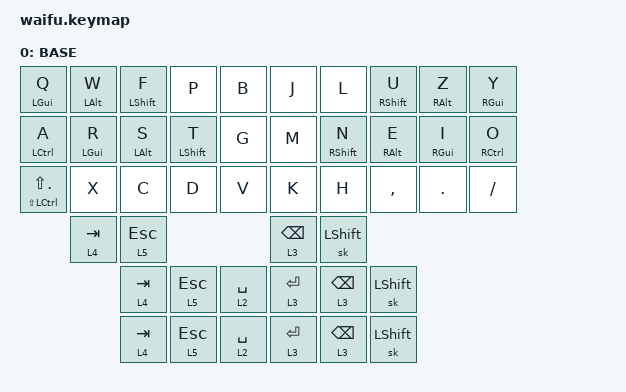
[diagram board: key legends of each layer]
//
// wiafu
//
// ▄▄▄▄▄▄▄▄▄▄▄▄▄▄▄▄▄▄▄▄▄▄▄▄▄▄▄▄▄▄▄▄▄▄▄▄▄▄▄▄▄▄▄▄▄▄▄▄▄▄▄▄▄▄▄▄▄▄▄▄▄▄▄▄▄▄▄▄▄▄▄▄▄▄▄▄▄▄▄▄▄▄▄▄▄▄▄▄▄▄▄▄▄▄▄▄▄▄▄▄▄▄▄▄▄▄▄▄▄▄▄▄▄▄▄▄▄▄▄▄▄▄▄▄▄▄▄▄▄▄▄▄▄▄▄▄▄▄▄▄▄▄▄▄▄▄▄▄▄

#include <behaviors.dtsi>
#include <dt-bindings/zmk/bt.h>
#include <dt-bindings/zmk/keys.h>
#include <dt-bindings/zmk/outputs.h>

// #define BASE 0
// #define SYM  1
// #define NAV  2
// #define ADJ  3
// #define TVP1 4
// #define TVP2 5

&mt {
    quick-tap-ms = <200>;
    global-quick-tap;
    flavor = "tap-preferred";
    tapping-term-ms = <150>;
};

&lt {
    quick-tap-ms = <200>;
    require-prior-idle-ms = <100>;
    flavor = "tap-preferred";
    tapping-term-ms = <180>;
};

&sk { quick-release; };

/ {
    // combos {
    //     compatible = "zmk,combos";
    //
    //     combo_esc {
    //         timeout-ms = <50>;
    //         key-positions = <0 1>;
    //         bindings = <&kp ESC>;
    //     };
    //
    //     combo_tvp {
    //         timeout-ms = <100>;
    //         key-positions = <11 12 13>;
    //         bindings = <&tog TVP1>;
    //     };
    // };
    // macros {
    //     gif: gif {
    //         label = "giphy";
    //         compatible = "zmk,behavior-macro";
    //         #binding-cells = <0>;
    //         bindings
    //             = <&macro_press &kp LSHFT>
    //             , <&macro_tap &kp N2>
    //             , <&macro_release &kp LSHFT>
    //             , <&macro_tap &kp G &kp I &kp F>
    //             ;
    //     };
    // };
    // behavior-tap-hold {
    //     quick-tap-ms = <200>;   // Time threshold for quick taps
    //     hold-tap-delay-ms = <0>; // Delay before hold behavior activates (0 means instant hold)
    //     global-quick-tap; // Enables quick tap globally
    // };

    combos {
        compatible = "zmk,combos";

        // ar_ae {
        //     bindings = <&kp APOS>;
        //     key-positions = <10 11>;
        //     layers = <0>;
        //     timeout-ms = <25>;
        //     require-prior-idle-ms = <100>;
        // };
        //
        // oi_oe {
        //     bindings = <&kp SEMI>;
        //     key-positions = <19 18>;
        //     layers = <0>;
        //     timeout-ms = <20>;
        // };
        //
        // rs_sz {
        //     bindings = <&kp MINUS>;
        //     key-positions = <11 12>;
        //     layers = <0>;
        //     timeout-ms = <20>;
        // };
        //
        // uy_ue {
        //     bindings = <&kp LBKT>;
        //     key-positions = <7 8>;
        //     layers = <0>;
        //     timeout-ms = <25>;
        //     require-prior-idle-ms = <100>;
        // };
        //
        // fp_dollar {
        //     bindings = <&kp LS(N4)>;
        //     key-positions = <2 3>;
        //     timeout-ms = <20>;
        //     layers = <0>;
        // };
        //
        // nei_qmark {
        //     bindings = <&kp LS(MINUS)>;
        //     key-positions = <16 17 18>;
        //     timeout-ms = <40>;
        //     layers = <0>;
        // };
        //
        // c,._semi {
        //     bindings = <&kp LS(COMMA)>;
        //     key-positions = <29 28>;
        //     timeout-ms = <20>;
        //     layers = <0>;
        // };
        //
        // pb_quote {
        //     bindings = <&kp LS(N2)>;
        //     key-positions = <3 4>;
        //     timeout-ms = <50>;
        //     layers = <0>;
        // };
        //
        // wf_squote {
        //     bindings = <&kp LS(NUHS)>;
        //     key-positions = <1 2>;
        //     timeout-ms = <30>;
        //     layers = <0>;
        //     require-prior-idle-ms = <200>;
        // };
        //
        // xc_copy {
        //     bindings = <&kp LG(C)>;
        //     key-positions = <22 23>;
        //     timeout-ms = <20>;
        //     layers = <0>;
        // };
        //
        // cd_paste {
        //     bindings = <&kp LG(V)>;
        //     key-positions = <23 24>;
        //     timeout-ms = <20>;
        //     layers = <0>;
        // };
        //
        // st_sticky_sym {
        //     bindings = <&sl 2>;
        //     key-positions = <12 13>;
        //     timeout-ms = <20>;
        //     layers = <0>;
        // };
        //
        // ie_equals {
        //     bindings = <&kp LS(N0)>;
        //     key-positions = <17 18>;
        //     timeout-ms = <20>;
        //     layers = <0>;
        // };
        //
        // jl_circ {
        //     bindings = <&kp NON_US_BSLH>;
        //     key-positions = <5 6>;
        //     timeout-ms = <50>;
        //     layers = <0>;
        // };
        //
        // lu_slash {
        //     bindings = <&kp LS(N7)>;
        //     key-positions = <6 7>;
        //     timeout-ms = <30>;
        //     layers = <0>;
        //     require-prior-idle-ms = <150>;
        // };
        //
        // yz_qmark {
        //     bindings = <&kp LS(MINUS)>;
        //     key-positions = <8 9>;
        //     timeout-ms = <30>;
        //     layers = <0>;
        //     require-prior-idle-ms = <100>;
        // };
        //
        // colonx_asterisk {
        //     bindings = <&kp LS(RBKT)>;
        //     key-positions = <21 22>;
        //     layers = <0>;
        //     timeout-ms = <50>;
        // };
        //
        // h,_pound {
        //     bindings = <&kp NUHS>;
        //     key-positions = <27 28>;
        //     timeout-ms = <30>;
        //     require-prior-idle-ms = <200>;
        //     layers = <0>;
        // };
        //
        // ne_qmark {
        //     bindings = <&kp LS(MINUS)>;
        //     key-positions = <16 17>;
        //     timeout-ms = <20>;
        //     layers = <0>;
        // };
        //
        // at_ae {
        //     bindings = <&kp APOS>;
        //     key-positions = <10 13>;
        //     timeout-ms = <25>;
        //     require-prior-idle-ms = <100>;
        //     layers = <0>;
        // };
        //
        // no_oe {
        //     bindings = <&kp SEMI>;
        //     key-positions = <16 19>;
        //     timeout-ms = <25>;
        //     layers = <0>;
        // };
        //
        // rst_excl {
        //     bindings = <&kp LS(N1)>;
        //     key-positions = <11 12 13>;
        //     timeout-ms = <40>;
        //     layers = <0>;
        // };
    };

    keymap {
        compatible = "zmk,keymap";

        // ▄▄▄▄▄▄▄▄▄▄▄▄▄▄▄▄▄▄▄▄▄▄▄▄▄▄▄▄▄▄▄▄▄▄▄▄▄▄▄▄▄▄▄▄▄▄▄▄▄▄▄▄▄▄▄▄▄▄▄▄▄▄▄▄▄▄▄▄▄▄▄▄▄▄▄▄▄▄▄▄▄▄▄▄▄▄▄▄▄▄▄▄▄▄▄▄▄▄▄▄▄▄▄▄▄▄▄▄▄▄▄▄▄▄▄▄▄▄▄▄▄▄▄▄▄▄▄▄▄▄▄▄▄▄▄▄▄▄▄▄▄▄▄▄▄▄▄▄▄

        base_layer {
            // ┏━━━━━━━━━━━━━━━━━━━━━━━━━━━━━━━━━━━━━━━┓

            label = "BASE";

            // ┗━━━━━━━━━━━━━━━━━━━━━━━━━━━━━━━━━━━━━━━┛
            //             ┏━━━━━━━━━━━┳━━━━━━━━━━━┳━━━━━━━━━━━┳━━━━━━━━━━━┳━━━━━━━━━━━┓   ┏━━━━━━━━━━━┳━━━━━━━━━━━┳━━━━━━━━━━━┳━━━━━━━━━━━┳━━━━━━━━━━━┓
            //             ┃     Q     ┃     W     ┃     F     ┃     P     ┃     B     ┃   ┃     J     ┃     L     ┃     U     ┃     Y     ┃     ;     ┃
            //             ┣━━━━━━━━━━━╋━━━━━━━━━━━╋━━━━━━━━━━━╋━━━━━━━━━━━╋━━━━━━━━━━━┫   ┣━━━━━━━━━━━╋━━━━━━━━━━━╋━━━━━━━━━━━╋━━━━━━━━━━━╋━━━━━━━━━━━┫
            //             ┃     A     ┃     R     ┃     S     ┃     T     ┃     G     ┃   ┃     M     ┃     N     ┃     E     ┃     I     ┃     O     ┃
            // ┏━━━━━━━━━━━╋━━━━━━━━━━━╋━━━━━━━━━━━╋━━━━━━━━━━━╋━━━━━━━━━━━╋━━━━━━━━━━━┫   ┣━━━━━━━━━━━╋━━━━━━━━━━━╋━━━━━━━━━━━╋━━━━━━━━━━━╋━━━━━━━━━━━╋━━━━━━━━━━━┓
            // ┃     Q     ┃     Z     ┃     X     ┃     C     ┃     D     ┃     V     ┃   ┃     K     ┃     H     ┃     ,     ┃     .     ┃     -     ┃     \     ┃
            // ┗━━━━━━━━━━━┻━━━━━━━━━━━┻━━━━━━━━━━━╋━━━━━━━━━━━╋━━━━━━━━━━━╋━━━━━━━━━━━┫   ┣━━━━━━━━━━━╋━━━━━━━━━━━╋━━━━━━━━━━━╋━━━━━━━━━━━┻━━━━━━━━━━━┻━━━━━━━━━━━┛
            //                                     ┃    TAB    ┃    ESC    ┃    SPC    ┃   ┃   ENTER   ┃    BSPC   ┃    ESC    ┃
            //                                     ┗━━━━━━━━━━━┻━━━━━━━━━━━┻━━━━━━━━━━━┛   ┗━━━━━━━━━━━┻━━━━━━━━━━━┻━━━━━━━━━━━┛

            bindings = <
           &mt LGUI Q             &mt LEFT_ALT W  &mt LSHIFT F  &kp P        &kp B          &kp J      &kp L        &mt RSHFT U     &mt RALT Z  &mt RGUI Y
           &mt LCTRL A            &mt LGUI R      &mt LALT S    &mt LSHFT T  &kp G          &kp M      &mt RSHFT N  &mt RALT E      &mt RGUI I  &mt RCTRL O
           &mt LS(LCTRL) LS(DOT)  &kp X           &kp C         &kp D        &kp V          &kp K      &kp H        &kp COMMA       &kp DOT     &kp FSLH
                                  &lt 4 TAB       &lt 5 ESC                                 &lt 3 BSPC &sk LEFT_SHIFT
                                                  &lt 4 TAB     &lt 5 ESC    &lt 2 SPACE    &lt 3 RET  &lt 3 BSPC   &sk LEFT_SHIFT
                                                  &lt 4 TAB     &lt 5 ESC    &lt 2 SPACE    &lt 3 RET  &lt 3 BSPC   &sk LEFT_SHIFT
            >;
        };

//         qwerty {
//             bindings = <
//         &kp Q        &kp W           &kp E           &kp R             &kp T          &kp Y      &kp U            &kp I       &kp O            &kp P
//         &mt LCTRL A  &mt LEFT_ALT S  &mt LEFT_GUI D  &mt LEFT_SHIFT F  &kp G          &kp H      &mt RSHFT J      &mt RGUI K  &mt RIGHT_ALT L  &mt LCTRL SLASH
// &trans  &kp Z        &kp X           &kp C           &kp V             &kp B          &kp N      &kp M            &kp COMMA   &kp DOT          &trans           &trans
//                                      &trans          &lt 2 ESCAPE      &lt 2 SPACE    &lt 3 RET  &lt 3 BACKSPACE  &trans
//             >;
//         };
//
//         sim_layer {
//             // ┏━━━━━━━━━━━━━━━━━━━━━━━━━━━━━━━━━━━━━━━┓
//
//             label = "SYM";
//
//             // ┗━━━━━━━━━━━━━━━━━━━━━━━━━━━━━━━━━━━━━━━┛
//             //             ┏━━━━━━━━━━━┳━━━━━━━━━━━┳━━━━━━━━━━━┳━━━━━━━━━━━┳━━━━━━━━━━━┓   ┏━━━━━━━━━━━┳━━━━━━━━━━━┳━━━━━━━━━━━┳━━━━━━━━━━━┳━━━━━━━━━━━┓
//             //             ┃     !     ┃     @     ┃     #     ┃     $     ┃     %     ┃   ┃     ˆ     ┃     &     ┃     Ü     ┃     '     ┃     "     ┃
//             //             ┣━━━━━━━━━━━╋━━━━━━━━━━━╋━━━━━━━━━━━╋━━━━━━━━━━━╋━━━━━━━━━━━┫   ┣━━━━━━━━━━━╋━━━━━━━━━━━╋━━━━━━━━━━━╋━━━━━━━━━━━╋━━━━━━━━━━━┫
//             //             ┃     Ä     ┃           ┃    SZ     ┃           ┃           ┃   ┃   MUTE    ┃   YEN     ┃   EURO    ┃  POUND    ┃     Ö     ┃
//             // ┏━━━━━━━━━━━╋━━━━━━━━━━━╋━━━━━━━━━━━╋━━━━━━━━━━━╋━━━━━━━━━━━╋━━━━━━━━━━━┫   ┣━━━━━━━━━━━╋━━━━━━━━━━━╋━━━━━━━━━━━╋━━━━━━━━━━━╋━━━━━━━━━━━╋━━━━━━━━━━━┓
//             // ┃           ┃     1        ┃  EMAIL2   ┃           ┃           ┃           ┃   ┃   VOL-    ┃   VOL+    ┃   LAST    ┃   NEXT    ┃     \     ┃           ┃
//             // ┗━━━━━━━━━━━┻━━━━━━━━━━━┻━━━━━━━━━━━╋━━━━━━━━━━━╋━━━━━━━━━━━╋━━━━━━━━━━━┫   ┣━━━━━━━━━━━╋━━━━━━━━━━━╋━━━━━━━━━━━╋━━━━━━━━━━━┻━━━━━━━━━━━┻━━━━━━━━━━━┛
//             //                                     ┃           ┃    GIF    ┃    ADJ    ┃   ┃           ┃           ┃           ┃
//             //                                     ┗━━━━━━━━━━━┻━━━━━━━━━━━┻━━━━━━━━━━━┛   ┗━━━━━━━━━━━┻━━━━━━━━━━━┻━━━━━━━━━━━┛
//
//             bindings = <
//         &kp LS(N1)    &kp LS(NUHS)   &kp LS(N4)  &kp LS(N2)  &kp LS(N5)    &kp LS(N6)  &kp LA(NUMBER_7)  &kp LS(N0)  &kp KP_SLASH  &kp LS(MINUS)
//         &kp RBKT      &kp GRAVE      &kp RA(N8)  &kp LS(N8)  &kp RA(N5)    &kp N0      &kp N1            &kp N2      &kp N3        &kp N4
// &trans  &kp LS(RBKT)  &kp LS(GRAVE)  &kp RA(N9)  &kp LS(N9)  &kp RA(N6)    &kp N5      &kp N6            &kp N7      &kp N8        &kp N9         &trans
//                                      &trans      &trans      &trans        &mo 4       &kp DEL           &trans
//             >;
//         };
//
//         nav_layer {
//             // ┏━━━━━━━━━━━━━━━━━━━━━━━━━━━━━━━━━━━━━━━┓
//
//             label = "NAVI";
//
//             // ┗━━━━━━━━━━━━━━━━━━━━━━━━━━━━━━━━━━━━━━━┛
//             //             ┏━━━━━━━━━━━┳━━━━━━━━━━━┳━━━━━━━━━━━┳━━━━━━━━━━━┳━━━━━━━━━━━┓   ┏━━━━━━━━━━━┳━━━━━━━━━━━┳━━━━━━━━━━━┳━━━━━━━━━━━┳━━━━━━━━━━━┓
//             //             ┃           ┃           ┃     UP    ┃           ┃     {     ┃   ┃     }     ┃     7     ┃     8     ┃     9     ┃     +     ┃
//             //             ┣━━━━━━━━━━━╋━━━━━━━━━━━╋━━━━━━━━━━━╋━━━━━━━━━━━╋━━━━━━━━━━━┫   ┣━━━━━━━━━━━╋━━━━━━━━━━━╋━━━━━━━━━━━╋━━━━━━━━━━━╋━━━━━━━━━━━┫
//             //             ┃   SHIFT   ┃   LEFT    ┃    DOWN   ┃   RIGHT   ┃     [     ┃   ┃     ]     ┃     4     ┃     5     ┃     6     ┃     -     ┃
//             // ┏━━━━━━━━━━━╋━━━━━━━━━━━╋━━━━━━━━━━━╋━━━━━━━━━━━╋━━━━━━━━━━━╋━━━━━━━━━━━┫   ┣━━━━━━━━━━━╋━━━━━━━━━━━╋━━━━━━━━━━━╋━━━━━━━━━━━╋━━━━━━━━━━━╋━━━━━━━━━━━┓
//             // ┃           ┃           ┃   P UP    ┃  C LOCK   ┃  P DOWN   ┃     (     ┃   ┃     )     ┃     1     ┃     2     ┃     3     ┃     *     ┃           ┃
//             // ┗━━━━━━━━━━━┻━━━━━━━━━━━┻━━━━━━━━━━━╋━━━━━━━━━━━╋━━━━━━━━━━━╋━━━━━━━━━━━┫   ┣━━━━━━━━━━━╋━━━━━━━━━━━╋━━━━━━━━━━━╋━━━━━━━━━━━┻━━━━━━━━━━━┻━━━━━━━━━━━┛
//             //                                     ┃           ┃    TAB    ┃    SPC    ┃   ┃    DEL    ┃     0     ┃           ┃
//             //                                     ┗━━━━━━━━━━━┻━━━━━━━━━━━┻━━━━━━━━━━━┛   ┗━━━━━━━━━━━┻━━━━━━━━━━━┻━━━━━━━━━━━┛
//
//             bindings = <
//        &kp EQUAL   &kp LS(N3)  &kp C_VOL_UP   &kp HOME          &kp PG_UP      &kp LS(MINUS)  &kp NON_US_BSLH  &kp LBKT  &kp LS(LA(N7))  &kp LS(EQUAL)
//        &kp APOS    &kp MINUS   &kp C_MUTE     &kp END           &kp PG_DN      &none          &kp LEFT         &kp UP    &kp RIGHT       &kp SEMI
// &none  &kp C_PREV  &kp C_NEXT  &kp C_VOL_DN   &kp C_PLAY_PAUSE  &none          &none          &kp NUHS         &kp DOWN  &none           &trans         &none
//                                &kp LG(EQUAL)  &trans            &lt 4 SPACE    &trans         &trans           &trans
//             >;
//         };
//
//         adjust_layer {
//             // ┏━━━━━━━━━━━━━━━━━━━━━━━━━━━━━━━━━━━━━━━┓
//
//             label = "ADJ";
//
//             // ┗━━━━━━━━━━━━━━━━━━━━━━━━━━━━━━━━━━━━━━━┛
//             //             ┏━━━━━━━━━━━┳━━━━━━━━━━━┳━━━━━━━━━━━┳━━━━━━━━━━━┳━━━━━━━━━━━┓   ┏━━━━━━━━━━━┳━━━━━━━━━━━┳━━━━━━━━━━━┳━━━━━━━━━━━┳━━━━━━━━━━━┓
//             //             ┃   RESET   ┃ BT CLEAR  ┃  OUT TOG  ┃           ┃           ┃   ┃           ┃    F7     ┃    F8     ┃    F9     ┃    F12    ┃
//             //             ┣━━━━━━━━━━━╋━━━━━━━━━━━╋━━━━━━━━━━━╋━━━━━━━━━━━╋━━━━━━━━━━━┫   ┣━━━━━━━━━━━╋━━━━━━━━━━━╋━━━━━━━━━━━╋━━━━━━━━━━━╋━━━━━━━━━━━┫
//             //             ┃ BOOTLOAD  ┃ BT NEXT   ┃           ┃           ┃           ┃   ┃           ┃    F4     ┃    F5     ┃    F6     ┃    F11    ┃
//             // ┏━━━━━━━━━━━╋━━━━━━━━━━━╋━━━━━━━━━━━╋━━━━━━━━━━━╋━━━━━━━━━━━╋━━━━━━━━━━━┫   ┣━━━━━━━━━━━╋━━━━━━━━━━━╋━━━━━━━━━━━╋━━━━━━━━━━━╋━━━━━━━━━━━╋━━━━━━━━━━━┓
//             // ┃           ┃           ┃ BT PREV   ┃           ┃           ┃           ┃   ┃           ┃    F1     ┃    F2     ┃    F3     ┃    F10    ┃           ┃
//             // ┗━━━━━━━━━━━┻━━━━━━━━━━━┻━━━━━━━━━━━╋━━━━━━━━━━━╋━━━━━━━━━━━╋━━━━━━━━━━━┫   ┣━━━━━━━━━━━╋━━━━━━━━━━━╋━━━━━━━━━━━╋━━━━━━━━━━━┻━━━━━━━━━━━┻━━━━━━━━━━━┛
//             //                                     ┃           ┃           ┃           ┃   ┃           ┃           ┃           ┃
//             //                                     ┗━━━━━━━━━━━┻━━━━━━━━━━━┻━━━━━━━━━━━┛   ┗━━━━━━━━━━━┻━━━━━━━━━━━┻━━━━━━━━━━━┛
//
//             bindings = <
//        &kp LA(Q)     &kp LA(W)     &kp LA(F)     &none       &kp LG(LS(N4))    &kp F1  &kp F2   &kp F3   &kp F4   &bt BT_CLR
//        &kp LA(N4)    &kp LA(N3)    &kp LA(N2)    &kp LA(N1)  &none             &kp F5  &kp F6   &kp F7   &kp F8   &out OUT_BLE
// &to 0  &bt BT_SEL 0  &bt BT_SEL 1  &bt BT_SEL 2  &kp LA(D)   &kp LA(V)         &kp F9  &kp F10  &kp F11  &kp F12  &out OUT_USB  &to 1
//                                    &trans        &trans      &trans            &trans  &trans   &trans
//             >;
//         };
//
//         num {
//             bindings = <
//         &trans  &trans    &kp UP    &trans     &trans    &kp LC(B)  &kp N7  &kp N8  &kp N9  &trans
//         &trans  &kp LEFT  &kp DOWN  &kp RIGHT  &trans    &trans     &kp N4  &kp N5  &kp N6  &kp N0
// &trans  &trans  &trans    &trans    &trans     &trans    &trans     &kp N1  &kp N2  &kp N3  &trans  &trans
//                           &trans    &trans     &trans    &trans     &trans  &trans
//             >;
//         };
    };
};
